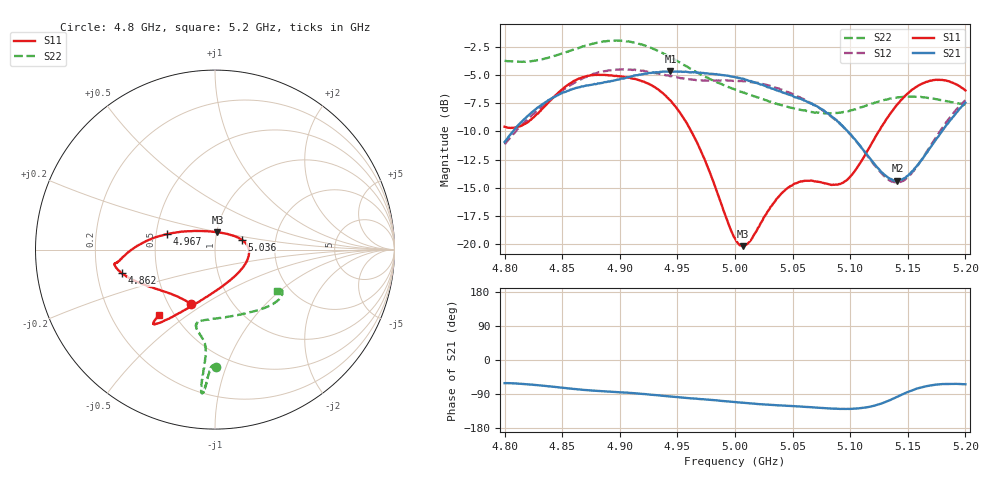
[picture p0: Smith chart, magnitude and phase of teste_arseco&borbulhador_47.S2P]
! Network Analyzer HP8722D
! Hewlett-Packard
! Data name: Linha & Wilkinson
! Saver's name: Rodrigo Anjos
! Comments: Teste da utilização de aquisição
! continua pelo VNA HP8722D
! Time and date: 15/4/2025 16:01
!  Frequency  S11  S21  S12  S22
# HZ  S  MA R 50
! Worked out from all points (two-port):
!   401 points, 4.8 GHz to 5.2 GHz, reference 50 ohm
!   highest |S21| = -4.64 dB at 4.944 GHz (marker M1); lowest = -14.4 dB at 5.141 GHz (marker M2)
!   |S21| within 3 dB of the highest: 4.832 GHz to 5.068 GHz (236 MHz wide, 4.77 % of centre); 5.198209 GHz to end of sweep
!   lowest |S11| = -20.2 dB at 5.007 GHz (marker M3), VSWR 1.22, Z = 50.4 + j9.83 ohm
!   |S11| at or under -10 dB: 4.962 GHz to 5.125 GHz (162.6 MHz wide, 3.22 % of centre)
!   |S22| runs from -8.4 to -1.9 dB; largest |S21 - S12| = 0.88
!   S11 on the Smith chart (normalised r, x): 4.8 GHz: 0.64, -0.44; 4.862 GHz: 0.31, -0.11; 4.967 GHz: 0.57, +0.11; 5.036 GHz: 1.34, +0.15; 5.2 GHz: 0.41, -0.39
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4.8e9  0.332 -114.0  0.2841 -61.1  0.2771 -175.1  0.6546 -89.6
4.819e9  0.3452 -133.7  0.3666 -63.9  0.354 -173.5  0.6484 -91.3
4.84e9  0.4354 -153.1  0.441 -69.8  0.4407 -173.8  0.6785 -92.6
4.862e9  0.5361 -165.9  0.4943 -76.9  0.5276 -176.5  0.7408 -93.7
4.867e9  0.5504 -167.8  0.503 -78.6  0.5419 -177.6  0.7547 -93.8
4.899e9  0.557 -172.4  0.5388 -85.1  0.5964 175.6  0.8028 -95.2
4.934e9  0.4839 -178.3  0.5799 -93.6  0.573 171.7  0.7185 -95.7
4.944e9  0.4345 177.3  0.5864 -96.3  0.5572 171.7  0.677 -95.5
4.967e9  0.2829 162.3  0.5782 -102.1  0.5351 173.9  0.5798 -95.0
5e9  0.1057 106.3  0.5521 -111.1  0.5324 176.3  0.4865 -99.4
5.007e9  0.09749 82.0  0.5436 -112.8  0.5291 176.2  0.4716 -100.9
5.014e9  0.1041 59.9  0.5305 -114.8  0.5258 176.0  0.4592 -102.6
5.036e9  0.1582 20.7  0.4826 -119.3  0.4941 175.0  0.4208 -103.7
5.05e9  0.1824 6.3  0.4561 -121.7  0.4645 174.3  0.4025 -100.3
5.067e9  0.1908 -12.1  0.4209 -124.7  0.4201 173.8  0.3861 -91.8
5.086e9  0.1831 -42.6  0.3623 -128.4  0.3604 173.7  0.3817 -77.5
5.097e9  0.1919 -65.5  0.3198 -129.1  0.3188 174.4  0.3892 -68.4
5.134e9  0.3746 -116.4  0.1954 -106.6  0.1915 -159.4  0.4423 -43.4
5.141e9  0.4178 -120.4  0.191 -96.7  0.1877 -148.3  0.4482 -40.2
5.153e9  0.4817 -125.2  0.2082 -80.7  0.2048 -129.8  0.4518 -36.0
5.171e9  0.5338 -129.1  0.2746 -66.5  0.2794 -112.3  0.4433 -31.9
5.2e9  0.4818 -130.6  0.4247 -64.2  0.4358 -106.3  0.4153 -33.5
